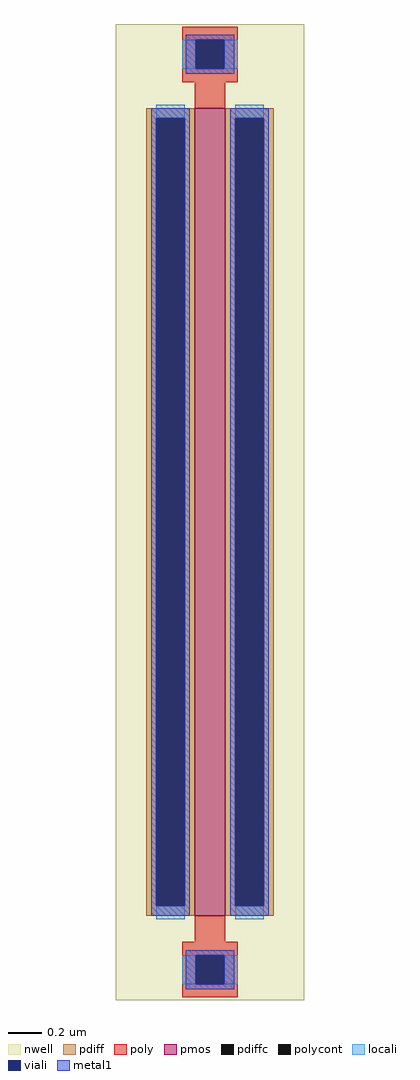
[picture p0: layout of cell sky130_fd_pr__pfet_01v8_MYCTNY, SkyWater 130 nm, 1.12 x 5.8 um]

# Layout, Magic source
magic
tech sky130A
magscale 1 2
<< nwell >>
rect -112 -580 112 580
<< pmos >>
rect -18 -480 18 480
<< pdiff >>
rect -76 468 -18 480
rect -76 -468 -64 468
rect -30 -468 -18 468
rect -76 -480 -18 -468
rect 18 468 76 480
rect 18 -468 30 468
rect 64 -468 76 468
rect 18 -480 76 -468
<< pdiffc >>
rect -64 -468 -30 468
rect 30 -468 64 468
<< poly >>
rect -33 561 33 577
rect -33 527 -17 561
rect 17 527 33 561
rect -33 511 33 527
rect -18 480 18 511
rect -18 -511 18 -480
rect -33 -527 33 -511
rect -33 -561 -17 -527
rect 17 -561 33 -527
rect -33 -577 33 -561
<< polycont >>
rect -17 527 17 561
rect -17 -561 17 -527
<< locali >>
rect -33 527 -17 561
rect 17 527 33 561
rect -64 468 -30 484
rect -64 -484 -30 -468
rect 30 468 64 484
rect 30 -484 64 -468
rect -33 -561 -17 -527
rect 17 -561 33 -527
<< viali >>
rect -17 527 17 561
rect -64 -468 -30 468
rect 30 -468 64 468
rect -17 -561 17 -527
<< metal1 >>
rect -29 561 29 567
rect -29 527 -17 561
rect 17 527 29 561
rect -29 521 29 527
rect -70 468 -24 480
rect -70 -468 -64 468
rect -30 -468 -24 468
rect -70 -480 -24 -468
rect 24 468 70 480
rect 24 -468 30 468
rect 64 -468 70 468
rect 24 -480 70 -468
rect -29 -527 29 -521
rect -29 -561 -17 -527
rect 17 -561 29 -527
rect -29 -567 29 -561
<< properties >>
string gencell sky130_fd_pr__pfet_01v8
string library sky130
string parameters w 4.8 l 0.18 m 1 nf 1 diffcov 100 polycov 100 guard 0 glc 1 grc 1 gtc 1 gbc 1 tbcov 100 rlcov 100 topc 1 botc 1 poverlap 0 doverlap 1 lmin 0.15 wmin 0.42 compatible {sky130_fd_pr__pfet_01v8  sky130_fd_pr__pfet_01v8_lvt sky130_fd_pr__pfet_01v8_hvt  sky130_fd_pr__pfet_g5v0d10v5} full_metal 1 viasrc 100 viadrn 100 viagate 100 viagb 0 viagr 0 viagl 0 viagt 0
<< end >>
